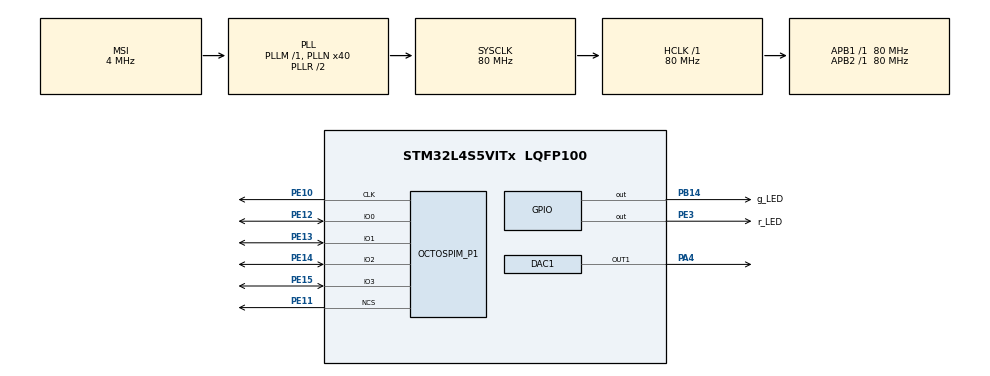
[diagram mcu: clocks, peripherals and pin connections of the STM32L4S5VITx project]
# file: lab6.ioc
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DAC1.DAC_Trigger-DAC_OUT1=DAC_TRIGGER_T2_TRGO
Dma.DAC1_CH1.0.Direction=DMA_MEMORY_TO_PERIPH
Dma.DAC1_CH1.0.EventEnable=DISABLE
Dma.DAC1_CH1.0.Instance=DMA1_Channel1
Dma.DAC1_CH1.0.MemDataAlignment=DMA_MDATAALIGN_BYTE
Dma.DAC1_CH1.0.MemInc=DMA_MINC_ENABLE
Dma.DAC1_CH1.0.Mode=DMA_NORMAL
Dma.DAC1_CH1.0.PeriphDataAlignment=DMA_PDATAALIGN_BYTE
Dma.DAC1_CH1.0.PeriphInc=DMA_PINC_DISABLE
Dma.DAC1_CH1.0.Polarity=HAL_DMAMUX_REQUEST_GEN_RISING
Dma.DAC1_CH1.0.Priority=DMA_PRIORITY_LOW
Dma.DAC1_CH1.0.RequestNumber=1
Dma.DAC1_CH1.0.SignalID=NONE
Dma.DAC1_CH1.0.SyncEnable=DISABLE
Dma.DAC1_CH1.0.SyncPolarity=HAL_DMAMUX_SYNC_NO_EVENT
Dma.DAC1_CH1.0.SyncRequestNumber=1
Dma.DAC1_CH1.0.SyncSignalID=NONE
Dma.Request0=DAC1_CH1
Mcu.Family=STM32L4
Mcu.Name=STM32L4S5VITx
Mcu.Package=LQFP100
NVIC.DMA1_Channel1_IRQn=true\:0\:0\:false\:false\:true\:false\:true\:true
NVIC.PriorityGroup=NVIC_PRIORITYGROUP_4
NVIC.TIM2_IRQn=true\:0\:0\:false\:false\:true\:true\:true\:true
OCTOSPI1.MemoryType=HAL_OSPI_MEMTYPE_MACRONIX
PA4.Signal=COMP_DAC11_group
PB14.GPIO_Label=g_LED
PB14.Signal=GPIO_Output
PE10.Mode=O1_P1_CLK
PE10.Signal=OCTOSPIM_P1_CLK
PE11.Mode=OCTOSPI1_Port1_NCS
PE11.Signal=OCTOSPIM_P1_NCS
PE12.Mode=OCTOSPI1_IOL_Port1L
PE12.Signal=OCTOSPIM_P1_IO0
PE13.Mode=OCTOSPI1_IOL_Port1L
PE13.Signal=OCTOSPIM_P1_IO1
PE14.Mode=OCTOSPI1_IOL_Port1L
PE14.Signal=OCTOSPIM_P1_IO2
PE15.Mode=OCTOSPI1_IOL_Port1L
PE15.Signal=OCTOSPIM_P1_IO3
PE3.GPIO_Label=r_LED
PE3.Signal=GPIO_Output
ProjectManager.HeapSize=0x200
ProjectManager.StackSize=0x400
ProjectManager.TargetToolchain=STM32CubeIDE
RCC.ADCFreq_Value=48000000
RCC.AHBFreq_Value=80000000
RCC.APB1Freq_Value=80000000
RCC.APB1TimFreq_Value=80000000
RCC.APB2Freq_Value=80000000
RCC.APB2TimFreq_Value=80000000
RCC.CortexFreq_Value=80000000
RCC.HCLKFreq_Value=80000000
RCC.HSE_VALUE=8000000
RCC.HSI48_VALUE=48000000
RCC.HSI_VALUE=16000000
RCC.LSE_VALUE=32768
RCC.MSI_VALUE=4000000
RCC.PLLN=40
RCC.PLLSAI1N=24
RCC.SYSCLKFreq_VALUE=80000000
RCC.SYSCLKSource=RCC_SYSCLKSOURCE_PLLCLK
RCC.USBFreq_Value=48000000
RCC.VCOOutputFreq_Value=160000000
SH.COMP_DAC11_group.0=DAC1_OUT1,DAC_OUT1
TIM2.Period=1814
TIM2.TIM_MasterOutputTrigger=TIM_TRGO_UPDATE
VP_OCTOSPI1_VS_quad.Mode=quad_mode
VP_TIM2_VS_ClockSourceINT.Mode=Internal
board=B-L4S5I-IOT01A

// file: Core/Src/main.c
/* USER CODE BEGIN Header */
/**
  ******************************************************************************
  * @file           : main.c
  * @brief          : Main program body
  ******************************************************************************
  * @attention
  *
  * Copyright (c) 2022 STMicroelectronics.
  * All rights reserved.
  *
  * This software is licensed under terms that can be found in the LICENSE file
  * in the root directory of this software component.
  * If no LICENSE file comes with this software, it is provided AS-IS.
  *
  ******************************************************************************
  */
/* USER CODE END Header */
#include "main.h"

/* USER CODE BEGIN Includes */
#define ARM_MATH_CM4
#include "arm_math.h"
#include "stm32l4s5i_iot01_qspi.h"

/* USER CODE END Includes */

DAC_HandleTypeDef hdac1;
DMA_HandleTypeDef hdma_dac1_ch1;

OSPI_HandleTypeDef hospi1;

TIM_HandleTypeDef htim2;

void SystemClock_Config(void);
static void MX_GPIO_Init(void);
static void MX_DMA_Init(void);
static void MX_OCTOSPI1_Init(void);
static void MX_DAC1_Init(void);
static void MX_TIM2_Init(void);

/* USER CODE BEGIN 0 */
#define BUF_SIZE 36750
#define A5 50
#define C6 42
#define Eb6 35
#define Gb6 30
#define A6 25

int flag = 0;
int addr = 0;
uint8_t sineWave[BUF_SIZE];
uint8_t play[BUF_SIZE];
int counter = 0;

//The timer frequency is 44.1 kHz, 44.1khz/1.2hz = 36750 samples, 0.8333s per sample(1.2hz)

/* USER CODE END 0 */

int main(void)
{

  /* MCU Configuration--------------------------------------------------------*/

  /* Reset of all peripherals, Initializes the Flash interface and the Systick. */
  HAL_Init();

  /* Configure the system clock */
  SystemClock_Config();

  /* Initialize all configured peripherals */
  MX_GPIO_Init();
  MX_DMA_Init();
  MX_OCTOSPI1_Init();
  MX_DAC1_Init();
  MX_TIM2_Init();
  /* USER CODE BEGIN 2 */
	BSP_QSPI_Init();
	HAL_TIM_Base_Start_IT(&htim2);
//	HAL_TIM_Base_Start_IT(&htim2);
//	HAL_TIM_Base_Start_IT(&htim2);

	//Erase 4 blocks prior to write in
	for(int i = 0; i < 4; i++){
		if(BSP_QSPI_Erase_Block(addr + i * 0x010000) != QSPI_OK){
			Error_Handler();
		  }
	  }

	// Select tone
	for (int tone = 0; tone < 5; tone++) {
		if (tone == 0) {
			for (int i = 0; i < BUF_SIZE; i++) {
				sineWave[i] = (uint8_t)(0.33*(1 + arm_sin_f32(2*PI*i/A5))*256);
			}
			if (BSP_QSPI_Write(sineWave, (uint32_t) (tone*BUF_SIZE), (uint32_t) BUF_SIZE) != QSPI_OK) {
				Error_Handler();
			}
		}

		if (tone == 1) {
			for (int i = 0; i < BUF_SIZE; i++) {
				sineWave[i] = (uint8_t)(0.33*(1 + arm_sin_f32(2*PI*i/C6))*256);
			}
			if (BSP_QSPI_Write(sineWave, (uint32_t) (tone*BUF_SIZE), (uint32_t) BUF_SIZE) != QSPI_OK) {
				Error_Handler();
			}
		}

		if (tone == 2) {
			for (int i = 0; i < BUF_SIZE; i++) {
				sineWave[i] = (uint8_t)(0.33*(1 + arm_sin_f32(2*PI*i/Eb6))*256);
			}
			if (BSP_QSPI_Write(sineWave, (uint32_t) (tone*BUF_SIZE), (uint32_t) BUF_SIZE) != QSPI_OK) {
				Error_Handler();
			}
		}

		if (tone == 3) {
			for (int i = 0; i < BUF_SIZE; i++) {
				sineWave[i] = (uint8_t)(0.33*(1 + arm_sin_f32(2*PI*i/Gb6))*256);
			}
			if (BSP_QSPI_Write(sineWave, (uint32_t) (tone*BUF_SIZE), (uint32_t) BUF_SIZE) != QSPI_OK) {
				Error_Handler();
			}
		}

		if (tone == 4) {
			for (int i = 0; i < BUF_SIZE; i++) {
				sineWave[i] = (uint8_t)(0.33*(1 + arm_sin_f32(2*PI*i/A6))*256);
			}
			if (BSP_QSPI_Write(sineWave, (uint32_t) (tone*BUF_SIZE), (uint32_t) BUF_SIZE) != QSPI_OK) {
				Error_Handler();
			}
		}

		HAL_DAC_Start_DMA(&hdac1, DAC_CHANNEL_1, play, (uint32_t) BUF_SIZE, DAC_ALIGN_8B_R);

	}
  /* USER CODE END 2 */

  /* Infinite loop */
  while (1)
  {

    /* USER CODE BEGIN 3 */
		// Check flag
		if (flag == 1) {
			flag = 0;
	//		HAL_DAC_Stop_DMA(&hdac1, DAC_CHANNEL_1);
			addr = counter * BUF_SIZE;
			counter++;
			if (counter > 4) {
				counter = 0;
			}
			if (BSP_QSPI_Read(play, addr, (uint32_t) BUF_SIZE) != QSPI_OK) {
				Error_Handler();
			}
			HAL_DAC_Start_DMA(&hdac1, DAC_CHANNEL_1, play, (uint32_t) BUF_SIZE, DAC_ALIGN_8B_R);

		}
		// Output sound
	//	HAL_DAC_Start_DMA(&hdac1, DAC_CHANNEL_1, play, (uint32_t) BUF_SIZE, DAC_ALIGN_8B_R);

  }
  /* USER CODE END 3 */
}

void SystemClock_Config(void)
{
  RCC_OscInitTypeDef RCC_OscInitStruct = {0};
  RCC_ClkInitTypeDef RCC_ClkInitStruct = {0};

  /** Configure the main internal regulator output voltage
  */
  if (HAL_PWREx_ControlVoltageScaling(PWR_REGULATOR_VOLTAGE_SCALE1) != HAL_OK)
  {
    Error_Handler();
  }

  /** Initializes the RCC Oscillators according to the specified parameters
  * in the RCC_OscInitTypeDef structure.
  */
  RCC_OscInitStruct.OscillatorType = RCC_OSCILLATORTYPE_MSI;
  RCC_OscInitStruct.MSIState = RCC_MSI_ON;
  RCC_OscInitStruct.MSICalibrationValue = 0;
  RCC_OscInitStruct.MSIClockRange = RCC_MSIRANGE_6;
  RCC_OscInitStruct.PLL.PLLState = RCC_PLL_ON;
  RCC_OscInitStruct.PLL.PLLSource = RCC_PLLSOURCE_MSI;
  RCC_OscInitStruct.PLL.PLLM = 1;
  RCC_OscInitStruct.PLL.PLLN = 40;
  RCC_OscInitStruct.PLL.PLLP = RCC_PLLP_DIV2;
  RCC_OscInitStruct.PLL.PLLQ = RCC_PLLQ_DIV2;
  RCC_OscInitStruct.PLL.PLLR = RCC_PLLR_DIV2;
  if (HAL_RCC_OscConfig(&RCC_OscInitStruct) != HAL_OK)
  {
    Error_Handler();
  }

  /** Initializes the CPU, AHB and APB buses clocks
  */
  RCC_ClkInitStruct.ClockType = RCC_CLOCKTYPE_HCLK|RCC_CLOCKTYPE_SYSCLK
                              |RCC_CLOCKTYPE_PCLK1|RCC_CLOCKTYPE_PCLK2;
  RCC_ClkInitStruct.SYSCLKSource = RCC_SYSCLKSOURCE_PLLCLK;
  RCC_ClkInitStruct.AHBCLKDivider = RCC_SYSCLK_DIV1;
  RCC_ClkInitStruct.APB1CLKDivider = RCC_HCLK_DIV1;
  RCC_ClkInitStruct.APB2CLKDivider = RCC_HCLK_DIV1;

  if (HAL_RCC_ClockConfig(&RCC_ClkInitStruct, FLASH_LATENCY_3) != HAL_OK)
  {
    Error_Handler();
  }
}

static void MX_DAC1_Init(void)
{

  DAC_ChannelConfTypeDef sConfig = {0};

  /** DAC Initialization
  */
  hdac1.Instance = DAC1;
  if (HAL_DAC_Init(&hdac1) != HAL_OK)
  {
    Error_Handler();
  }

  /** DAC channel OUT1 config
  */
  sConfig.DAC_SampleAndHold = DAC_SAMPLEANDHOLD_DISABLE;
  sConfig.DAC_Trigger = DAC_TRIGGER_T2_TRGO;
  sConfig.DAC_HighFrequency = DAC_HIGH_FREQUENCY_INTERFACE_MODE_ABOVE_80MHZ;
  sConfig.DAC_OutputBuffer = DAC_OUTPUTBUFFER_ENABLE;
  sConfig.DAC_ConnectOnChipPeripheral = DAC_CHIPCONNECT_DISABLE;
  sConfig.DAC_UserTrimming = DAC_TRIMMING_FACTORY;
  if (HAL_DAC_ConfigChannel(&hdac1, &sConfig, DAC_CHANNEL_1) != HAL_OK)
  {
    Error_Handler();
  }

}

static void MX_OCTOSPI1_Init(void)
{

  OSPIM_CfgTypeDef OSPIM_Cfg_Struct = {0};

  /* OCTOSPI1 parameter configuration*/
  hospi1.Instance = OCTOSPI1;
  hospi1.Init.FifoThreshold = 1;
  hospi1.Init.DualQuad = HAL_OSPI_DUALQUAD_DISABLE;
  hospi1.Init.MemoryType = HAL_OSPI_MEMTYPE_MACRONIX;
  hospi1.Init.DeviceSize = 32;
  hospi1.Init.ChipSelectHighTime = 1;
  hospi1.Init.FreeRunningClock = HAL_OSPI_FREERUNCLK_DISABLE;
  hospi1.Init.ClockMode = HAL_OSPI_CLOCK_MODE_0;
  hospi1.Init.ClockPrescaler = 1;
  hospi1.Init.SampleShifting = HAL_OSPI_SAMPLE_SHIFTING_NONE;
  hospi1.Init.DelayHoldQuarterCycle = HAL_OSPI_DHQC_DISABLE;
  hospi1.Init.ChipSelectBoundary = 0;
  hospi1.Init.DelayBlockBypass = HAL_OSPI_DELAY_BLOCK_BYPASSED;
  if (HAL_OSPI_Init(&hospi1) != HAL_OK)
  {
    Error_Handler();
  }
  OSPIM_Cfg_Struct.ClkPort = 1;
  OSPIM_Cfg_Struct.NCSPort = 1;
  OSPIM_Cfg_Struct.IOLowPort = HAL_OSPIM_IOPORT_1_LOW;
  if (HAL_OSPIM_Config(&hospi1, &OSPIM_Cfg_Struct, HAL_OSPI_TIMEOUT_DEFAULT_VALUE) != HAL_OK)
  {
    Error_Handler();
  }

}

static void MX_TIM2_Init(void)
{

  TIM_ClockConfigTypeDef sClockSourceConfig = {0};
  TIM_MasterConfigTypeDef sMasterConfig = {0};

  htim2.Instance = TIM2;
  htim2.Init.Prescaler = 0;
  htim2.Init.CounterMode = TIM_COUNTERMODE_UP;
  htim2.Init.Period = 1814;
  htim2.Init.ClockDivision = TIM_CLOCKDIVISION_DIV1;
  htim2.Init.AutoReloadPreload = TIM_AUTORELOAD_PRELOAD_DISABLE;
  if (HAL_TIM_Base_Init(&htim2) != HAL_OK)
  {
    Error_Handler();
  }
  sClockSourceConfig.ClockSource = TIM_CLOCKSOURCE_INTERNAL;
  if (HAL_TIM_ConfigClockSource(&htim2, &sClockSourceConfig) != HAL_OK)
  {
    Error_Handler();
  }
  sMasterConfig.MasterOutputTrigger = TIM_TRGO_UPDATE;
  sMasterConfig.MasterSlaveMode = TIM_MASTERSLAVEMODE_DISABLE;
  if (HAL_TIMEx_MasterConfigSynchronization(&htim2, &sMasterConfig) != HAL_OK)
  {
    Error_Handler();
  }

}

static void MX_DMA_Init(void)
{

  /* DMA controller clock enable */
  __HAL_RCC_DMAMUX1_CLK_ENABLE();
  __HAL_RCC_DMA1_CLK_ENABLE();

  /* DMA interrupt init */
  /* DMA1_Channel1_IRQn interrupt configuration */
  HAL_NVIC_SetPriority(DMA1_Channel1_IRQn, 0, 0);
  HAL_NVIC_EnableIRQ(DMA1_Channel1_IRQn);

}

static void MX_GPIO_Init(void)
{
  GPIO_InitTypeDef GPIO_InitStruct = {0};

  /* GPIO Ports Clock Enable */
  __HAL_RCC_GPIOE_CLK_ENABLE();
  __HAL_RCC_GPIOA_CLK_ENABLE();
  __HAL_RCC_GPIOB_CLK_ENABLE();

  /*Configure GPIO pin Output Level */
  HAL_GPIO_WritePin(r_LED_GPIO_Port, r_LED_Pin, GPIO_PIN_RESET);

  /*Configure GPIO pin Output Level */
  HAL_GPIO_WritePin(g_LED_GPIO_Port, g_LED_Pin, GPIO_PIN_RESET);

  /*Configure GPIO pin : r_LED_Pin */
  GPIO_InitStruct.Pin = r_LED_Pin;
  GPIO_InitStruct.Mode = GPIO_MODE_OUTPUT_PP;
  GPIO_InitStruct.Pull = GPIO_NOPULL;
  GPIO_InitStruct.Speed = GPIO_SPEED_FREQ_LOW;
  HAL_GPIO_Init(r_LED_GPIO_Port, &GPIO_InitStruct);

  /*Configure GPIO pin : g_LED_Pin */
  GPIO_InitStruct.Pin = g_LED_Pin;
  GPIO_InitStruct.Mode = GPIO_MODE_OUTPUT_PP;
  GPIO_InitStruct.Pull = GPIO_NOPULL;
  GPIO_InitStruct.Speed = GPIO_SPEED_FREQ_LOW;
  HAL_GPIO_Init(g_LED_GPIO_Port, &GPIO_InitStruct);

}

/* USER CODE BEGIN 4 */
//void HAL_DAC_ConvHalfCpltCallbackCh1 (DAC_HandleTypeDef * hdac){
//	HAL_GPIO_TogglePin(g_LED_GPIO_Port, g_LED_Pin);
//}

void HAL_DAC_ConvCpltCallbackCh1(DAC_HandleTypeDef *hdac1) {
	HAL_GPIO_TogglePin(g_LED_GPIO_Port, g_LED_Pin);
	flag=1;

}

/* USER CODE END 4 */

void Error_Handler(void)
{
  /* USER CODE BEGIN Error_Handler_Debug */
  /* User can add his own implementation to report the HAL error return state */
	HAL_GPIO_WritePin(r_LED_GPIO_Port, r_LED_Pin, GPIO_PIN_RESET);
	__BKPT();

  /* USER CODE END Error_Handler_Debug */
}
